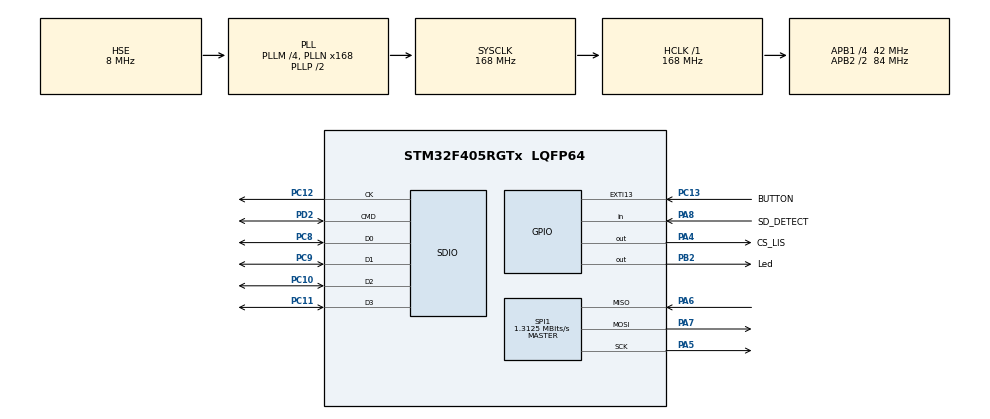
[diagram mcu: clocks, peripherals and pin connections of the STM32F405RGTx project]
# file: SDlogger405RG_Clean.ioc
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IWDG.Prescaler=IWDG_PRESCALER_32
Mcu.Family=STM32F4
Mcu.Name=STM32F405RGTx
Mcu.Package=LQFP64
NVIC.PriorityGroup=NVIC_PRIORITYGROUP_4
NVIC.SDIO_IRQn=true\:2\:0\:true\:false\:true\:true\:true\:true
NVIC.TIM2_IRQn=true\:1\:0\:true\:false\:true\:true\:true\:true
PA13.Mode=Serial_Wire
PA13.Signal=SYS_JTMS-SWDIO
PA14.Mode=Serial_Wire
PA14.Signal=SYS_JTCK-SWCLK
PA4.GPIO_Label=CS_LIS
PA4.PinState=GPIO_PIN_SET
PA4.Signal=GPIO_Output
PA5.Mode=Full_Duplex_Master
PA5.Signal=SPI1_SCK
PA6.Mode=Full_Duplex_Master
PA6.Signal=SPI1_MISO
PA7.Mode=Full_Duplex_Master
PA7.Signal=SPI1_MOSI
PA8.GPIO_Label=SD_DETECT
PA8.GPIO_PuPd=GPIO_PULLUP
PA8.Signal=GPIO_Input
PB2.GPIO_Label=Led
PB2.Signal=GPIO_Output
PC10.Mode=SD_4_bits_Wide_bus
PC10.Signal=SDIO_D2
PC11.Mode=SD_4_bits_Wide_bus
PC11.Signal=SDIO_D3
PC12.Mode=SD_4_bits_Wide_bus
PC12.Signal=SDIO_CK
PC13-ANTI_TAMP.GPIO_Label=BUTTON
PC13-ANTI_TAMP.GPIO_PuPd=GPIO_PULLDOWN
PC13-ANTI_TAMP.Signal=GPXTI13
PC14-OSC32_IN.Mode=LSE-External-Oscillator
PC14-OSC32_IN.Signal=RCC_OSC32_IN
PC15-OSC32_OUT.Mode=LSE-External-Oscillator
PC15-OSC32_OUT.Signal=RCC_OSC32_OUT
PC8.Mode=SD_4_bits_Wide_bus
PC8.Signal=SDIO_D0
PC9.Mode=SD_4_bits_Wide_bus
PC9.Signal=SDIO_D1
PD2.Mode=SD_4_bits_Wide_bus
PD2.Signal=SDIO_CMD
PH0-OSC_IN.Mode=HSE-External-Oscillator
PH0-OSC_IN.Signal=RCC_OSC_IN
PH1-OSC_OUT.Mode=HSE-External-Oscillator
PH1-OSC_OUT.Signal=RCC_OSC_OUT
ProjectManager.HeapSize=0x200
ProjectManager.StackSize=0x400
ProjectManager.TargetToolchain=Makefile
RCC.48MHZClocksFreq_Value=48000000
RCC.AHBFreq_Value=168000000
RCC.APB1CLKDivider=RCC_HCLK_DIV4
RCC.APB1Freq_Value=42000000
RCC.APB1TimFreq_Value=84000000
RCC.APB2CLKDivider=RCC_HCLK_DIV2
RCC.APB2Freq_Value=84000000
RCC.APB2TimFreq_Value=168000000
RCC.CortexFreq_Value=168000000
RCC.HCLKFreq_Value=168000000
RCC.HSE_VALUE=8000000
RCC.HSI_VALUE=16000000
RCC.PLLM=4
RCC.PLLN=168
RCC.PLLQ=7
RCC.PLLSourceVirtual=RCC_PLLSOURCE_HSE
RCC.RCC_RTC_Clock_Source=RCC_RTCCLKSOURCE_LSE
RCC.SYSCLKFreq_VALUE=168000000
RCC.SYSCLKSource=RCC_SYSCLKSOURCE_PLLCLK
RCC.VCOOutputFreq_Value=336000000
SDIO.ClockDiv=4
SPI1.BaudRatePrescaler=SPI_BAUDRATEPRESCALER_64
SPI1.CLKPhase=SPI_PHASE_2EDGE
SPI1.CLKPolarity=SPI_POLARITY_HIGH
SPI1.CalculateBaudRate=1.3125 MBits/s
SPI1.Direction=SPI_DIRECTION_2LINES
SPI1.Mode=SPI_MODE_MASTER
SPI1.VirtualType=VM_MASTER
TIM2.Prescaler=124
VP_IWDG_VS_IWDG.Mode=IWDG_Activate
VP_RTC_VS_RTC_Activate.Mode=RTC_Enabled
VP_TIM2_VS_ClockSourceINT.Mode=Internal
board=custom

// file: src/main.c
/* USER CODE BEGIN Header */
/**
  ******************************************************************************
  * @file           : main.c
  * @brief          : Main program body
  ******************************************************************************
  * @attention
  *
  * Copyright (c) 2026 STMicroelectronics.
  * All rights reserved.
  *
  * This software is licensed under terms that can be found in the LICENSE file
  * in the root directory of this software component.
  * If no LICENSE file comes with this software, it is provided AS-IS.
  *
  ******************************************************************************
  */
/* USER CODE END Header */
#include "main.h"
#include "iwdg.h"
#include "rtc.h"
#include "sdio.h"
#include "spi.h"
#include "tim.h"
#include "gpio.h"

/* USER CODE BEGIN Includes */
#include "lis3dsh.h"
#include "sd_writer.h"
#include "ff.h"
/* USER CODE END Includes */

/* USER CODE BEGIN PD */
/* P1-8 (graceful shutdown on SD error): how many times the main loop re-inits
 * the SDMMC bus with HAL_SD_Init() before it gives up and closes the file for
 * good. Each attempt is bracketed by a card-detect gate and HAL_IWDG_Refresh(),
 * because HAL_SD_Init() feeds the watchdog nowhere internally
 * (doc/final_pre_flash_audit.md W-5; the SDMMC busy-waits use SDIO_CMDTIMEOUT,
 * which ll_sdmmc.c:1330 treats as milliseconds). T_IWDG = 4.095 s (iwdg.c P0-4). */
#define SD_RECOVERY_ATTEMPTS 3u

/* V2 LOSSY MODE (V2-1 / Milestone 2b, closes O-11 of doc/final_pre_flash_audit.md)
 * --------------------------------------------------------------------------
 * A failed chunk commit is a CARD-internal garbage-collection pause, not a dead
 * bus: at SDIO_CK = 48/(16+2) = 2.6667 MHz, 1-bit (src/sdio.c), one 12 294 B
 * chunk is on the wire for 12294*8/2.6667e6 = 36.9 ms = 1.85 % of the 2000 ms
 * HAL bound (src/diskio.c:114), so the remaining ~98 % of a timeout is the card
 * being busy internally. Consumer cards do this for > 2 s on purpose.
 * V2 therefore stops treating one stall as fatal: the chunk is DROPPED, the hole
 * is recorded as a sequence-number jump, the bus is re-initialised ONCE and
 * recording CONTINUES. Continuous recording time outranks a lossless stream;
 * lossy-ness is fully observable because parser_vibl.py reports every jump.
 * sd_error_shutdown() is kept as the fallback for sessions that genuinely cannot
 * continue: card pulled, FatFs chain damaged, stream rewind failed. */
#define SD_GAP_BLINK_MS 30u   /* one dropped chunk = one 30 ms ON / 30 ms OFF flash */
/* USER CODE END PD */

/* USER CODE BEGIN PV */
FATFS fs;

/* P1-6 (audit_13_11_26_1 WARN-1): mask-based ping-pong instead of the coded
 * ready-flag (old "ready = active buffer + 1" scheme). With that scheme a late
 * consumer lost a pending flag silently (and read-then-clear after the flash
 * could drop an arena that matured during the flush), so lost chunks left no
 * trace in the file. A bitmask keeps BOTH matured arenas pending until
 * consumed, and a collision is counted in `dropped` -> vibl_mark_gap(). */
#define VIBL_CHUNK_WORDS  (VIBL_SAMPLES_PER_CHUNK * 3u)
static int16_t arena[2][VIBL_CHUNK_WORDS];
static volatile uint8_t  fill_idx  = 0u;   /* 0 or 1 — which arena ISR writes into */
static volatile uint32_t fill_cnt  = 0u;   /* words filled in current arena        */
static volatile uint8_t  full_mask = 0u;   /* bit0 = arena[0] full, bit1 = arena[1] */
static volatile uint32_t dropped   = 0u;   /* accumulated dropped samples          */
static volatile uint8_t lis3dsh_err = 0u;
/* P2-8: consecutive SPI failures (see the ISR error branch). */
static volatile uint32_t spi_err_streak = 0u;
/* P1-5 (audit_13_11_26_1 BUG-5): set by HAL_GPIO_EXTI_Callback() on PC13.
 * PC13 is Active HIGH (doc/WEACT_F405_PINOUT.md §1 note 1 / §2), configured in
 * gpio.c as GPIO_MODE_IT_RISING + GPIO_PULLDOWN, so a press is a rising edge. */
static volatile uint8_t session_stop = 0u;

static void hil3_error_loop(uint8_t err_code);
/* USER CODE END PV */

void SystemClock_Config(void);

/* USER CODE BEGIN 0 */
/* P1-8 - graceful shutdown after an SD write error.
 * V2-1 (2026-11-16, LOSSY MODE): this is now the FALLBACK path only. The main
 * loop first tries sd_error_recover() and keeps recording; everything below
 * stays exactly as specified for the sessions that cannot be recovered.
 *
 * WHY THIS EXISTS: every chunk is committed by f_sync() inside
 * vibl_write_chunk() (sd_writer.c:420), so when the card stalls the samples
 * already on the card are safe. What is at risk is the END of the file: without
 * vibl_close() the session leaves behind the preallocated tail (P1-7 stretch
 * mode: up to 42 MiB; P3-1 expand mode: no tail at all),
 * no trailer (end_ts / total_records / file_crc32), and the few bytes of the
 * chunk that died mid-write still punched into the stream. The old behaviour
 * (a bare hil3_error_loop(5) right at the failing write) abandoned the file in
 * exactly that state, i.e. a recoverable stall looked like a power cut.
 *
 * This path preserves the data instead:
 *   1. re-init the bus (up to SD_RECOVERY_ATTEMPTS x HAL_SD_Init) - NOT a
 *      re-mount: f_mount(&fs,"0:",1) would run fs->id = ++Fsid (ff.c:3192) while
 *      validate() demands obj->id == obj->fs->id (ff.c:3224), which would mark
 *      the already open FIL invalid and make the close impossible. HAL_SD_Init
 *      alone is sufficient: validate() consults only disk_status() (ff.c:3236),
 *      which is the PA8 card-detect pin, and fs->fs_type stays non-zero.
 *   2. vibl_close(): seek back to vibl_data_end (advanced ONLY by successful
 *      chunks, sd_writer.c:407) + f_truncate() -> the abandoned partial chunk
 *      is cut away, then the trailer lands at the true EOF with a CRC that
 *      matches the surviving payload byte-for-byte (parser_vibl.py must then
 *      print "File CRC32: ... MATCH", verified by test/SYNTH_SDERROR_CLOSED.VIB).
 *   3. stop the 1600 Hz sampler and park in the error-blink loop.
 *      SUPERSEDED for the ordinary case by V2-1 (2026-11-16): the main loop now
 *      prefers sd_error_recover() + vibl_recover(), which guarantees the stream
 *      offset (fptr is rewound to vibl_data_end) and makes the hole VISIBLE as a
 *      sequence jump - see the LOSSY MODE note in src/main.c and
 *      doc/MILESTONE_2_ROBUSTNESS.md §10. Steps 1-3 here remain the fallback for
 *      a session that cannot be recovered (card pulled, chain damaged, rewind
 *      failed), where a truncated-but-valid file is still worth more than nothing.
 *
 * Bounded time: 3 x (CD read + HAL_SD_Init + 200 ms) + close. On a REMOVED card
 * the CD gate breaks the loop immediately, so no CMD busy-wait is ever spent.
 * UNCERTAIN (hardware, unchanged from audit U-3): with a card that is physically
 * present but electrically dead, HAL_SD_Init may block longer than T_IWDG =
 * 4.095 s; then the IWDG resets the board instead of blinking code 5. The file
 * is still safe (chunk-granular f_sync), it simply has no trailer - which
 * parser_vibl.py now reports as "No trailer found (power loss/error)". */
static volatile uint8_t sd_recovery_ok = 0u;   /* debugger: 1 = bus came back */

/* V2-1 (LOSSY MODE) error log. This tree has NO UART - include/main.h defines
 * only BUTTON_Pin / CS_LIS_Pin / Led_Pin / SD_DETECT_Pin - so "log the error"
 * means (a) counters for the debugger and the post-mortem, and (b) one visible
 * LED flash per dropped chunk (PB2 Active HIGH, doc/WEACT_F405_PINOUT.md §2):
 *   sd_gap_events   - chunks abandoned whose session CONTINUED (recovered)
 *   sd_fatal_events - sessions that had to be ended by sd_error_shutdown()
 *   sd_last_write_rc- last vibl_status_t (VIBL_ERR_WRITE -4 / VIBL_ERR_SYNC -5)
 * The per-chunk FRESULT stays in vibl_dbg_last_fr and the abandoned-chunk latch
 * in vibl_dbg_sd_error (src/sd_writer.c), the surviving-hole count in
 * vibl_get_dropped_samples() and vibl_get_recover_count(). */
static volatile uint32_t sd_gap_events   = 0u;
static volatile uint32_t sd_fatal_events = 0u;
static volatile int      sd_last_write_rc = 0;

static void sd_error_shutdown(void)
{
    uint8_t attempt;

    for (attempt = 0u; attempt < SD_RECOVERY_ATTEMPTS; attempt++) {
        /* Card detect BEFORE re-init. PA8 HIGH = inserted (SSOT
         * doc/WEACT_F405_PINOUT.md sec.1, same polarity as main.c's startup
         * CD-gate and diskio.c:26). A removed card makes HAL_SD_Init burn the
         * SDIO_CMDTIMEOUT loops with no IWDG feed -> reset, never a blink. */
        if (HAL_GPIO_ReadPin(SD_DETECT_GPIO_Port, SD_DETECT_Pin) == GPIO_PIN_RESET) {
            break;
        }
        HAL_IWDG_Refresh(&hiwdg);
        if (HAL_SD_Init(&hsd) == HAL_OK) {
            sd_recovery_ok = 1u;
            HAL_Delay(100);              /* let the card finish its internal state */
            HAL_IWDG_Refresh(&hiwdg);
            break;
        }
        HAL_IWDG_Refresh(&hiwdg);
        HAL_Delay(200);                  /* GC / erase-busy settle, then retry */
        HAL_IWDG_Refresh(&hiwdg);
    }

    /* Write the trailer while the bus may still answer. If it does not, every
     * FatFs call inside returns fast (validate() -> FR_INVALID_OBJECT, or the
     * bounded 2000 ms disk timeout) and vibl_abort() inside closes the file.
     * O-12 CLOSED (FIX-E, 2026-11-16): disk_read/disk_write now feed the IWDG on
     * the FAILURE path too (src/diskio.c), so the f_sync -> f_close -> f_sync
     * chain (src/ff.c:3821) restarts with a full 4095 ms budget per op. Budget of
     * this path: 1 x 2000 ms failed chunk + <= 500 ms delays = ~2.5 s < 4.095 s. */
    (void)vibl_close();

    /* Stop the sampler last (patch-spec order). The TIM2 callback touches RAM
     * only (arena / full_mask / dropped), so it cannot disturb the FatFs work
     * above; the leftover full_mask is simply never consumed again. */
    HAL_TIM_Base_Stop_IT(&htim2);

    /* R0.12c unmount is f_mount(NULL, path, 0) (ff.c:3277-3293), same call the
     * PC13 stop path uses. */
    (void)f_mount(NULL, "0:", 0);
    HAL_GPIO_WritePin(Led_GPIO_Port, Led_Pin, GPIO_PIN_RESET);
    hil3_error_loop(5);   /* parks forever, refreshing the IWDG every 200 ms */
}

/* V2-1 (LOSSY MODE) recovery: ONE bounded attempt to bring the session back.
 * Returns 0 = stream realigned, recording continues; non-zero = cannot continue,
 * the caller must fall back to sd_error_shutdown() above.
 *
 * Exactly one HAL_SD_Init(&hsd) and NO re-mount, for the reason already
 * documented at main.c:105-110 and doc/MILESTONE_2_ROBUSTNESS.md §4.2a:
 * f_mount(&fs,"0:",1) would run fs->id = ++Fsid (ff.c:3192) while validate()
 * demands obj->id == obj->fs->id (ff.c:3224) - the open FIL would go invalid and
 * every later f_write / f_lseek / f_sync / f_truncate would answer
 * FR_INVALID_OBJECT without attempting any I/O.
 *
 * Card detect FIRST: PA8 LOW = card absent (doc/WEACT_F405_PINOUT.md §1, same
 * polarity as the boot gate at main.c and disk_status() in diskio.c). Letting
 * HAL_SD_Init burn its SDMMC_CMDTIMEOUT loops without a card only wastes the
 * watchdog window (audit U-3: HAL_SD_Init feeds nothing internally) and would
 * end the run in a reset instead of a controlled close.
 *
 * Time budget of this function: 1 x HAL_SD_Init (UNCERTAIN upper bound, audit
 * U-3, unchanged from Milestone 2) + 100 ms settle; every neighbouring bounded
 * op is fed by HAL_IWDG_Refresh here and by disk_read/disk_write on BOTH exit
 * paths (src/diskio.c:87, :116), so the gap between feeds never exceeds one
 * 2000 ms op against T_IWDG = 4095 * 32 / 32000 = 4.095 s (src/iwdg.c:45-46). */
static int sd_error_recover(void)
{
    if (HAL_GPIO_ReadPin(SD_DETECT_GPIO_Port, SD_DETECT_Pin) == GPIO_PIN_RESET) {
        return -1;                       /* card gone: never touch the bus again */
    }

    HAL_IWDG_Refresh(&hiwdg);
    (void)HAL_SD_Init(&hsd);             /* clear SDMMC / card state, once */
    HAL_IWDG_Refresh(&hiwdg);
    HAL_Delay(100);                      /* let the card finish GC / program-busy */
    HAL_IWDG_Refresh(&hiwdg);

    /* TASK-2 half of TASK-1: unlatch FIL::err and rewind the file pointer to
     * vibl_data_end. main.c cannot touch vibl_fil - it is static in
     * src/sd_writer.c - so vibl_recover() is the ONLY legal way to clear the
     * latch. Without it the next vibl_write_chunk() would return the stale
     * FRESULT immediately (ff.c:3627) and every later chunk would fail too. */
    if (vibl_recover() != VIBL_OK) {
        return -2;                       /* chain damaged / size clipped */
    }

    sd_recovery_ok = 1u;
    return 0;
}

/* V2-1 gap log: counters + one short LED flash. 2 x 30 ms = 60 ms is 4.7 % of
 * the 1280 ms the TIM2 ISR needs to mature one arena (2048 samples / 1600 Hz)
 * and 3 % of the 2000 ms stall just paid, so the log cannot realistically cause
 * a second hole; the watchdog is fed on both halves. */
static void sd_gap_log(int rc)
{
    sd_gap_events++;
    sd_last_write_rc = rc;
    HAL_GPIO_WritePin(Led_GPIO_Port, Led_Pin, GPIO_PIN_SET);
    HAL_Delay(SD_GAP_BLINK_MS);
    HAL_IWDG_Refresh(&hiwdg);
    HAL_GPIO_WritePin(Led_GPIO_Port, Led_Pin, GPIO_PIN_RESET);
    HAL_Delay(SD_GAP_BLINK_MS);
    HAL_IWDG_Refresh(&hiwdg);
}
/* USER CODE END 0 */

int main(void)
{

  /* MCU Configuration--------------------------------------------------------*/

  /* Reset of all peripherals, Initializes the Flash interface and the Systick. */
  HAL_Init();

  /* Configure the system clock */
  SystemClock_Config();

  /* Initialize all configured peripherals */
  MX_GPIO_Init();
  MX_IWDG_Init();
  MX_RTC_Init();
  /* USER CODE BEGIN PreSDIO */
    /* P0-4 (audit_13_11_26_1 BUG-4): CD gate BEFORE the blocking HAL_SD_Init inside
   * MX_SDIO_SD_Init(). Without this gate a dead/absent card makes HAL_SD_Init
   * outlive T_IWDG and the error-blink loop is unreachable.
   * T_IWDG is now 4.095 s (iwdg.c P0-4), so hil3_error_loop(2) can blink freely.
   *
   * ACTUAL hardware on this board: card inserted -> PA8 HIGH (NC switch,
   * R11 = 100 k pull-up to VDD33, R12 = 10 k in series with PA8). Bench:
   * inserted = 2.5 V, absent = 0.4 V. doc/WEACT_F405_PINOUT.md §1 claimed the
   * opposite (active LOW) — corrected after bench, SSOT updated in the same patch. */
  if (HAL_GPIO_ReadPin(SD_DETECT_GPIO_Port, SD_DETECT_Pin) == GPIO_PIN_RESET) {
    hil3_error_loop(2);  /* PA8 LOW = card NOT inserted (NC switch closes to GND) */
  }
  /* USER CODE END PreSDIO */
  MX_SDIO_SD_Init();
  MX_SPI1_Init();
  MX_TIM2_Init();
    /* USER CODE BEGIN 2 */
  /* P1-5: NVIC enable for the shared EXTI15_10 line (PC13 = EXTI13).
   * CubeMX left this out (SDlogger405RG_Clean.ioc has SH.GPXTI13.0=GPIO_EXTI13
   * but no NVIC.EXTI15_10_IRQn entry, and gpio.c issues no HAL_NVIC_EnableIRQ),
   * so without this the new EXTI15_10_IRQHandler never fires. */
  HAL_NVIC_SetPriority(EXTI15_10_IRQn, 3u, 0u);  /* lowest: must not delay TIM2 (1) */
  HAL_NVIC_EnableIRQ(EXTI15_10_IRQn);
  __HAL_GPIO_EXTI_CLEAR_IT(BUTTON_Pin);          /* drop any spurious pending edge */

  /* 1. Init Sensor */
  if (lis3dsh_init() != 0) {
    hil3_error_loop(1);
  }

  /* 2. Mount SD */
  if (f_mount(&fs, "0:", 1) != FR_OK) {
    hil3_error_loop(2);
  }

    /* 3. Open VIBL file */
  if (vibl_open("LOG0003.VIB", VIBL_SENSOR_LIS3DSH, 16u, 100u) != VIBL_OK) {
    hil3_error_loop(3);
  }

  /* P2-9 (audit WARN-4): the file was created successfully, but if the RTC was
   * unreadable at open time both header.start_ts and every FAT timestamp are
   * meaningless (the parser can only print "Unknown"). Fail loudly instead of
   * logging untimed data. Error code 6 = RTC fault. */
  if (vibl_get_start_ts() == 0u) {
    hil3_error_loop(6);   /* new error code: RTC fault (LSE not running?) */
  }

  /* 4. Start Timer */
  HAL_TIM_Base_Start_IT(&htim2);
  /* USER CODE END 2 */

    /* Infinite loop */
  while (1)
  {

    /* USER CODE BEGIN 3 */
    /* P1-5 (audit_13_11_26_1 BUG-5): graceful stop requested by PC13.
     * Drain whatever is pending, commit header/trailer via vibl_close(),
     * unmount, stop the sampling timer and park with the LED steady ON
     * (PB2 Active HIGH per doc/WEACT_F405_PINOUT.md sec.2 note 3). */
    if (session_stop) {
      /* DEVIATION (order only): the spec stops TIM2 after vibl_close(). With
       * P1-7 preallocation, vibl_close() now runs remove_chain() over the
       * never-written tail (~10k FAT entries at 4k clusters = 0.3-0.5 s), so
       * stopping the 1600 Hz sampler FIRST removes ISR jitter from that window
       * and prevents new full_mask/dropped updates after the snapshot below. */
      HAL_TIM_Base_Stop_IT(&htim2);

      /* Drain both arenas if any are full (P1-5 + P1-6). */
      __disable_irq();
      uint8_t  sm = full_mask;
      uint32_t sd = dropped;
      full_mask = 0u;
      dropped   = 0u;
      __enable_irq();
      if (sm & 1u) (void)vibl_write_chunk(arena[0], VIBL_SAMPLES_PER_CHUNK);
      if (sm & 2u) (void)vibl_write_chunk(arena[1], VIBL_SAMPLES_PER_CHUNK);
      if (sd) { (void)vibl_mark_gap(sd); }

      if (vibl_close() != VIBL_OK) hil3_error_loop(5);

      /* DEVIATION from the patch spec ("f_close(&fs)"): in FatFs R0.12c
       * f_close() takes FIL* (ff.h:243); passing FATFS* would make f_sync()
       * write through a wrong object layout. The R0.12c unmount call is
       * f_mount(NULL, path, 0) - see ff.c:3277-3293 (FatFs[vol] = 0). */
      (void)f_mount(NULL, "0:", 0);
      HAL_GPIO_WritePin(Led_GPIO_Port, Led_Pin, GPIO_PIN_SET);   /* clean stop */
      while (1) {
        HAL_IWDG_Refresh(&hiwdg);
        __WFI();
      }
    }

    if (lis3dsh_err != 0u) hil3_error_loop(4);

    /* P1-6 (audit WARN-1): atomic snapshot+clear of the arena mask and of the
     * dropped counter. Critical section = 2 loads + 2 stores + cpsr writes
     * = ~12 instructions < 100 ns at 168 MHz, so jitter of the 1600 Hz ISR
     * (period 625 us) stays negligible. Both matured arenas are flushed
     * back-to-back. Because `d` is snapshotted in the SAME critical section,
     * an increment landing during the flush below is carried to the next
     * iteration instead of being erased (closes the audit read-then-clear
     * window). */
    __disable_irq();
    uint8_t  m = full_mask;
    uint32_t d = dropped;
    full_mask = 0u;
    dropped   = 0u;
    __enable_irq();

    /* ---- V2 LOSSY MODE (V2-1, Milestone 2b) -------------------------------
     * TASK-1: a failed vibl_write_chunk() NO LONGER ends the session.
     * The failure is a card-internal GC pause outliving the 2000 ms HAL bound
     * (src/diskio.c:102-113), so V2 drops exactly that chunk, makes the hole
     * explicit in the sequence chain, re-inits the bus once and KEEPS RECORDING.
     * Continuous recording time now outranks a lossless stream - and the loss is
     * auditable, because parser_vibl.py reports every jump it sees.
     * sd_error_shutdown() remains only as the fallback for a session that truly
     * cannot continue (card pulled, FatFs chain damaged, stream rewind failed). */
    int wr_err = 0;
    uint32_t lost_chunks = 0u;

    if (m & 1u) {
      int rc = vibl_write_chunk(arena[0], VIBL_SAMPLES_PER_CHUNK);
      if (rc != VIBL_OK) { wr_err = rc; lost_chunks++; }  /* this chunk never landed */
    }
    /* If arena[0] already burned its 1 x 2000 ms timeout (src/diskio.c, FIX-F:
     * VIBL_WRITE_RETRY_MAX = 1u), spending another 2000 ms on arena[1] cannot
     * help and only widens the stall. Its samples are gone as well, so they MUST
     * be gap-counted too - an uncounted skip would let the surviving seq chain
     * claim 1.28 s of data that was never written. */
    if (m & 2u) {
      if (wr_err == 0) {
        int rc = vibl_write_chunk(arena[1], VIBL_SAMPLES_PER_CHUNK);
        if (rc != VIBL_OK) { wr_err = rc; lost_chunks++; }
      } else {
        lost_chunks++;
      }
    }

    /* Holes the producer already counted itself: while the consumer was stalled
     * both arenas were full, so TIM2 dropped whole arenas into `dropped`. */
    if (d) { (void)vibl_mark_gap(d); }

    if (wr_err != 0) {
      /* TASK-1 step 2 - explicit sequence jump, one VIBL_SAMPLES_PER_CHUNK per
       * lost chunk. next_chunk_seq is NOT advanced by a failed chunk
       * (sd_writer.c:591-593 run only after a successful f_sync), so this adds
       * precisely (lost_chunks) missing chunk indices: the previously written
       * chunk k and the next one k+1+lost_chunks bracket the hole. */
      (void)vibl_mark_gap(lost_chunks * VIBL_SAMPLES_PER_CHUNK);
      sd_gap_log(wr_err);                        /* TASK-1 step 3a: log it */
      if (sd_error_recover() != 0) {             /* 3b: 1 x HAL_SD_Init + unlatch */
        sd_fatal_events++;
        sd_error_shutdown();                     /* never returns */
      }
      /* 3c: fall through. full_mask/arena state is untouched by the stall, so
       * the next iteration simply writes the next arena. */
    }

        HAL_IWDG_Refresh(&hiwdg);
  }
  /* USER CODE END 3 */
}

void SystemClock_Config(void)
{
  RCC_OscInitTypeDef RCC_OscInitStruct = {0};
  RCC_ClkInitTypeDef RCC_ClkInitStruct = {0};

  /** Configure the main internal regulator output voltage
  */
  __HAL_RCC_PWR_CLK_ENABLE();
  __HAL_PWR_VOLTAGESCALING_CONFIG(PWR_REGULATOR_VOLTAGE_SCALE1);

  /** Initializes the RCC Oscillators according to the specified parameters
  * in the RCC_OscInitTypeDef structure.
  */
  RCC_OscInitStruct.OscillatorType = RCC_OSCILLATORTYPE_LSI|RCC_OSCILLATORTYPE_HSE
                              |RCC_OSCILLATORTYPE_LSE;
  RCC_OscInitStruct.HSEState = RCC_HSE_ON;
  RCC_OscInitStruct.LSEState = RCC_LSE_ON;
  RCC_OscInitStruct.LSIState = RCC_LSI_ON;
  RCC_OscInitStruct.PLL.PLLState = RCC_PLL_ON;
  RCC_OscInitStruct.PLL.PLLSource = RCC_PLLSOURCE_HSE;
  RCC_OscInitStruct.PLL.PLLM = 4;
  RCC_OscInitStruct.PLL.PLLN = 168;
  RCC_OscInitStruct.PLL.PLLP = RCC_PLLP_DIV2;
  RCC_OscInitStruct.PLL.PLLQ = 7;
  if (HAL_RCC_OscConfig(&RCC_OscInitStruct) != HAL_OK)
  {
    Error_Handler();
  }

  /** Initializes the CPU, AHB and APB buses clocks
  */
  RCC_ClkInitStruct.ClockType = RCC_CLOCKTYPE_HCLK|RCC_CLOCKTYPE_SYSCLK
                              |RCC_CLOCKTYPE_PCLK1|RCC_CLOCKTYPE_PCLK2;
  RCC_ClkInitStruct.SYSCLKSource = RCC_SYSCLKSOURCE_PLLCLK;
  RCC_ClkInitStruct.AHBCLKDivider = RCC_SYSCLK_DIV1;
  RCC_ClkInitStruct.APB1CLKDivider = RCC_HCLK_DIV4;
  RCC_ClkInitStruct.APB2CLKDivider = RCC_HCLK_DIV2;

  if (HAL_RCC_ClockConfig(&RCC_ClkInitStruct, FLASH_LATENCY_5) != HAL_OK)
  {
    Error_Handler();
  }
}

/* USER CODE BEGIN 4 */
/* P1-5: strong override of the HAL weak callback (stm32f4xx_hal_gpio.c).
 * Called from EXTI15_10_IRQHandler -> HAL_GPIO_EXTI_IRQHandler(BUTTON_Pin).
 * Only sets a flag; all SD/file work happens in the main loop. */
void HAL_GPIO_EXTI_Callback(uint16_t GPIO_Pin)
{
    if (GPIO_Pin == BUTTON_Pin) {
        session_stop = 1u;
    }
}

void HAL_TIM_PeriodElapsedCallback(TIM_HandleTypeDef *htim)
{
    if (htim->Instance != TIM2) return;

    int16_t *b = arena[fill_idx];

    /* BLOCKER-1 fix (doc/final_pre_flash_audit.md "Blockers/BLOCKER-1", check
     * C3): the advance+wrap block used to live ONLY on the success path, while
     * the SPI-error path burned the slot and returned. Sequence that broke: an
     * SPI failure at fill_cnt = 6141 -> fill_cnt = 6144 -> return; on the NEXT
     * tick the success path ran lis3dsh_read(&b[6144], &b[6145], &b[6146]) with
     * arena[i] indexed 0..6143 (VIBL_CHUNK_WORDS = 2048 * 3) - an out-of-bounds
     * write into the adjacent .bss object. Secondary defect of the same
     * asymmetry: an arena whose last slots were burned was NEVER marked full,
     * so those samples vanished with no `dropped` count and no seq jump, and
     * fill_idx stayed stuck on the saturated arena.
     *
     * Fix: read first, then fall through ONE shared advance/wrap block, so the
     * entry invariant fill_cnt <= 6141 holds by construction for both paths.
     * Cost: ~3 instructions inside a 625 us (1600 Hz) ISR window - no timing
     * impact at -O2. */
    int rc = lis3dsh_read(&b[fill_cnt], &b[fill_cnt + 1], &b[fill_cnt + 2]);
    if (rc != 0) {
        /* P2-8: escalate to the error loop only after 10 consecutive failures
         * (~6.3 ms of dead bus). A one-off glitch costs a single sample and is
         * NOT counted into `dropped`, because a partially invalid arena cannot
         * be reported as a clean gap without a new VIBL record type; closing
         * that properly needs an invalid-sample flag in the record format.
         * The burned slot is written as a stale/zero sample inside the chunk
         * that closes below - documented tradeoff (audit WARN-2). */
        if (++spi_err_streak >= 10u) {
            lis3dsh_err = 1u;   /* -> hil3_error_loop(4) in the main loop */
        }
    } else {
        spi_err_streak = 0u;    /* P2-8: one good frame clears the streak */
    }

    /* Shared wrap for BOTH paths (this is what closes C3): the slot is always
     * burned and the arena is always closed at VIBL_CHUNK_WORDS, so
     * fill_cnt < VIBL_CHUNK_WORDS at the next entry. */
    fill_cnt += 3u;
    if (fill_cnt >= VIBL_CHUNK_WORDS) {
        if (full_mask & (uint8_t)(1u << fill_idx)) {
            dropped += VIBL_SAMPLES_PER_CHUNK;  /* consumer too slow (SD GC) */
        } else {
            full_mask |= (uint8_t)(1u << fill_idx);
        }
        fill_idx ^= 1u;
        fill_cnt = 0u;
    }
}

static void hil3_error_loop(uint8_t err_code)
{
    while (1) {
        for (uint8_t i = 0; i < err_code; i++) {
            HAL_GPIO_WritePin(GPIOB, GPIO_PIN_2, GPIO_PIN_SET);
            HAL_Delay(200);
            HAL_IWDG_Refresh(&hiwdg);
            HAL_GPIO_WritePin(GPIOB, GPIO_PIN_2, GPIO_PIN_RESET);
            HAL_Delay(200);
            HAL_IWDG_Refresh(&hiwdg);
        }
        for (int i = 0; i < 10; i++) {
            HAL_Delay(100);
            HAL_IWDG_Refresh(&hiwdg);
        }
    }
}
/* USER CODE END 4 */

void Error_Handler(void)
{
  __disable_irq();
  while (1)
  {
  }
}
